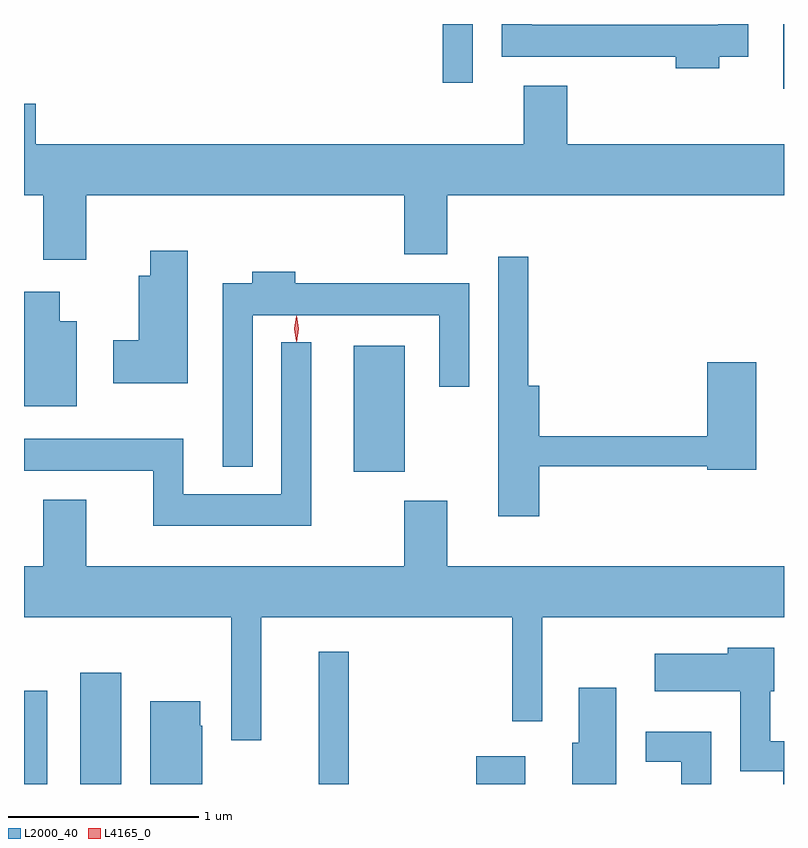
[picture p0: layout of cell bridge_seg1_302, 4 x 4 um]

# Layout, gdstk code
import gdstk
lib = gdstk.Library(unit=1e-6, precision=1e-09)
def R(c, l, rs):  # rectangles x0, y0, x1, y1
    for r in rs: c.add(gdstk.rectangle(r[:2], r[2:], *l))
def P(c, l, *ps):  # polygons
    for p in ps: c.add(gdstk.Polygon(p, *l))
L2000_40 = (2000, 40)
L4165_0 = (4165, 0)

bridge_seg1_302 = lib.new_cell('bridge_seg1_302')
R(bridge_seg1_302, L2000_40, [(839.561,874.278,839.684,874.769), (839.856,874.278,840.074,874.864), (841.111,874.278,841.269,874.973), (841.941,874.278,842.199,874.424), (841.296,875.921,841.564,876.584), (843.556,877.936,843.561,878.278), (841.766,877.968,841.924,878.278)])
P(bridge_seg1_302, L2000_40, [(843.219,878.106),(843.374,878.106),(843.374,878.278),(843.216,878.278),(843.216,878.274),(842.234,878.274),(842.234,878.278),(842.076,878.278),(842.076,878.106),(842.991,878.106),(842.991,878.046),(843.219,878.046)],
  [(839.889,877.376),(841.561,877.376),(841.561,877.066),(841.789,877.066),(841.789,877.376),(843.561,877.376),(843.561,877.644),(842.419,877.644),(842.419,877.954),(842.191,877.954),(842.191,877.644),(839.624,877.644),(839.624,877.859),(839.561,877.859),(839.561,877.376),(839.661,877.376),(839.661,877.036),(839.889,877.036)],
  [(840.424,877.084),(840.226,877.084),(840.226,876.954),(840.166,876.954),(840.166,876.614),(840.031,876.614),(840.031,876.386),(840.424,876.386)],
  [(842.274,875.951),(843.156,875.951),(843.156,875.931),(843.414,875.931),(843.414,876.499),(843.156,876.499),(843.156,876.109),(842.274,876.109),(842.274,876.374),(842.214,876.374),(842.214,877.053),(842.056,877.053),(842.056,875.686),(842.274,875.686)],
  [(840.764,876.746),(841.746,876.746),(841.746,876.368),(841.904,876.368),(841.904,876.914),(840.989,876.914),(840.989,876.974),(840.761,876.974),(840.761,876.914),(840.606,876.914),(840.606,875.948),(840.764,875.948)],
  [(839.839,876.714),(839.749,876.714),(839.749,876.869),(839.561,876.869),(839.561,876.266),(839.839,876.266)],
  [(841.074,876.603),(840.916,876.603),(840.916,875.804),(840.399,875.804),(840.399,876.094),(839.561,876.094),(839.561,875.926),(840.241,875.926),(840.241,875.636),(841.074,875.636)],
  [(840.809,875.156),(842.131,875.156),(842.131,874.608),(842.289,874.608),(842.289,875.156),(843.561,875.156),(843.561,875.424),(841.789,875.424),(841.789,875.769),(841.561,875.769),(841.561,875.424),(839.889,875.424),(839.889,875.774),(839.661,875.774),(839.661,875.424),(839.561,875.424),(839.561,875.156),(840.651,875.156),(840.651,874.508),(840.809,874.508)],
  [(843.561,874.504),(843.489,874.504),(843.489,874.766),(843.509,874.766),(843.509,874.994),(843.266,874.994),(843.266,874.964),(842.881,874.964),(842.881,874.766),(843.331,874.766),(843.331,874.346),(843.556,874.346),(843.556,874.278),(843.561,874.278)],
  [(842.679,874.784),(842.481,874.784),(842.481,874.494),(842.446,874.494),(842.446,874.278),(842.679,874.278)],
  [(840.499,874.585),(840.489,874.585),(840.489,874.714),(840.226,874.714),(840.226,874.278),(840.499,874.278)],
  [(843.179,874.554),(842.833,874.554),(842.833,874.396),(843.021,874.396),(843.021,874.278),(843.179,874.278)])
P(bridge_seg1_302, L4165_0, [(840.996,876.604),(840.996,876.604),(840.986,876.673),(840.996,876.743),(840.996,876.743),(840.997,876.743),(841.006,876.673),(840.997,876.604)],
  [(840.994,876.607),(840.994,876.608),(840.984,876.674),(840.994,876.74),(840.994,876.741),(840.995,876.74),(841.004,876.674),(840.995,876.608)])

lib.write_gds('bridge_seg1_302.gds')
